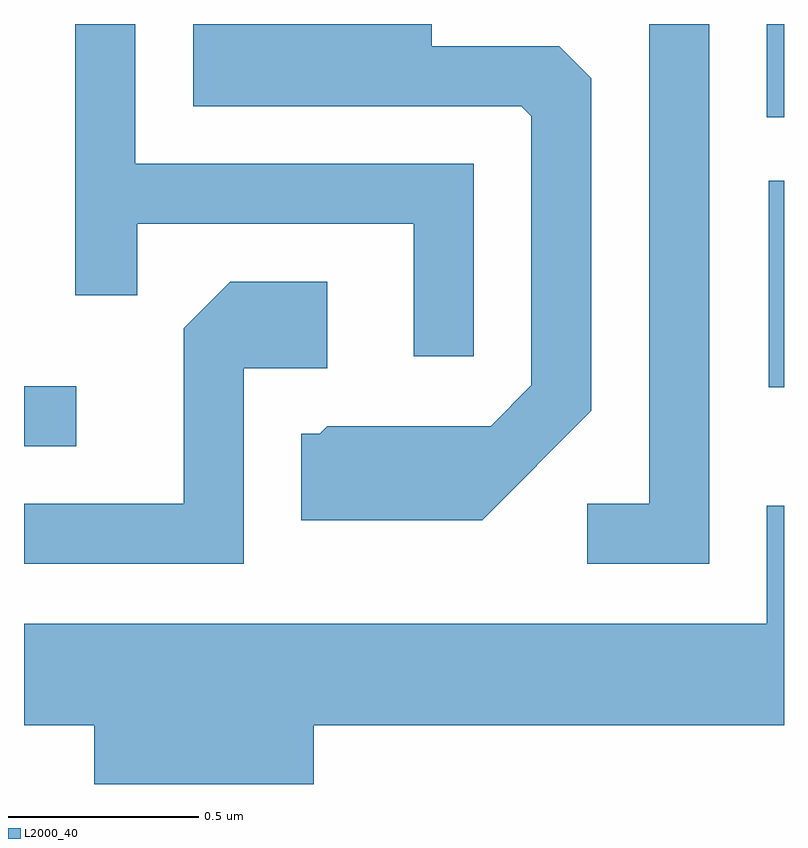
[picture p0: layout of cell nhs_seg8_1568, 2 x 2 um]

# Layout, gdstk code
import gdstk
lib = gdstk.Library(unit=1e-6, precision=1e-09)
def R(c, l, rs):  # rectangles x0, y0, x1, y1
    for r in rs: c.add(gdstk.rectangle(r[:2], r[2:], *l))
def P(c, l, *ps):  # polygons
    for p in ps: c.add(gdstk.Polygon(p, *l))
L2000_40 = (2000, 40)

nhs_seg8_1568 = lib.new_cell('nhs_seg8_1568')
R(nhs_seg8_1568, L2000_40, [(196.611,1868.231,196.748,1868.389), (198.571,1868.386,198.611,1868.929), (198.566,1869.096,198.611,1869.342)])
P(nhs_seg8_1568, L2000_40, [(198.104,1868.324),(198.104,1869.199),(198.019,1869.284),(197.684,1869.284),(197.684,1869.342),(197.056,1869.342),(197.056,1869.126),(197.919,1869.126),(197.946,1869.099),(197.946,1868.392),(197.839,1868.284),(197.409,1868.284),(197.389,1868.264),(197.341,1868.264),(197.341,1868.036),(197.817,1868.036)],
  [(198.414,1869.342),(198.256,1869.342),(198.256,1868.079),(198.093,1868.079),(198.093,1867.921),(198.414,1867.921)],
  [(197.794,1868.974),(196.904,1868.974),(196.904,1869.342),(196.746,1869.342),(196.746,1868.628),(196.909,1868.628),(196.909,1868.816),(197.636,1868.816),(197.636,1868.468),(197.794,1868.468)],
  [(197.189,1868.436),(197.409,1868.436),(197.409,1868.664),(197.154,1868.664),(197.031,1868.542),(197.031,1868.079),(196.611,1868.079),(196.611,1867.921),(197.189,1867.921)],
  [(197.374,1867.496),(198.611,1867.496),(198.611,1868.074),(198.566,1868.074),(198.566,1867.764),(196.611,1867.764),(196.611,1867.496),(196.796,1867.496),(196.796,1867.342),(197.374,1867.342)])

lib.write_gds('nhs_seg8_1568.gds')
